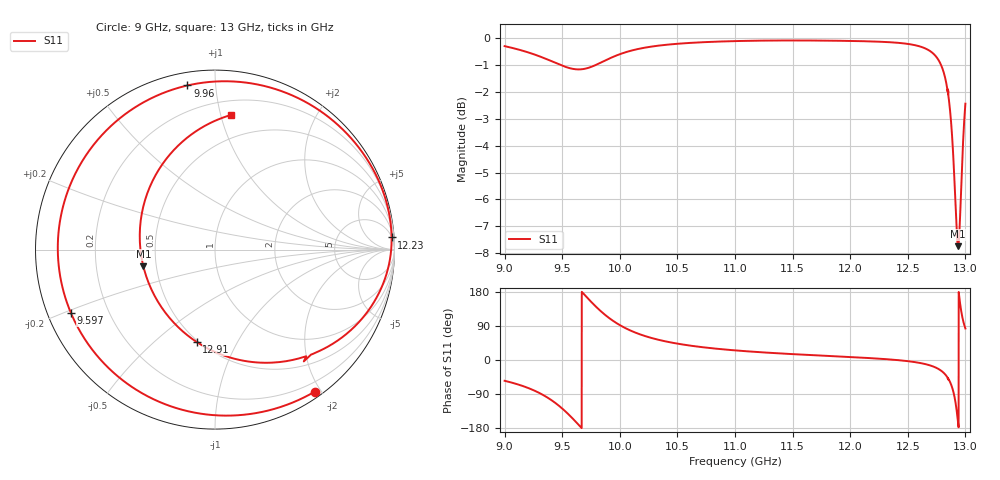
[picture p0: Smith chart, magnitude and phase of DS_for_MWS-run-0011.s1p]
! TOUCHSTONE file generated by CST DESIGN STUDIO
! Date and time: Tue Feb  4 15:45:07 2025
! Project name: C:\Work\MatlabApps\UnitCellOptimizationMatlab\CST\unitcell.cst
! Tree item: Tasks\Sweep1\SPara1\S-Parameters
! Header version: 2024
! Port assignment regex: !\s*Touchstone port\s*([0-9]+)\s*=\s*(CST MWS port|CST DES external port|CST DES block port)\s*(.+)\s* \(\"(.*)\"\)(\s*mode\s*([0-9]+))?.*
! Touchstone port assignment:
! Touchstone port 1 = CST DES external port 1 ("")
# GHz S MA R 50
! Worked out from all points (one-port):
!   4001 points, 9 GHz to 13 GHz, reference 50 ohm
!   lowest |S11| = -7.7 dB at 12.94 GHz (marker M1), VSWR 2.39, Z = 21.2 - j4.79 ohm
!   |S11| at or under -10 dB: nowhere
!   S11 on the Smith chart (normalised r, x): 9 GHz: 0.08, -1.92; 9.597 GHz: 0.07, -0.21; 9.96 GHz: 0.06, +0.84; 12.23 GHz: 6, +28; 12.91 GHz: 0.49, -0.70; 13 GHz: 0.31, +1.08
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9  0.9672 -54.9
9.169  0.9467 -69.8
9.321  0.9227 -90.1
9.417  0.9049 -108.2
9.5  0.8895 -128.0
9.597  0.8769 -156.3
9.669  0.8758 -179.8
9.741  0.8832 156.7
9.848  0.904 125.3
9.96  0.9272 99.6
10  0.9343 92.1
10.106  0.9496 76.0
10.219  0.961 63.2
10.5  0.9771 43.2
11  0.9884 25.4
11.5  0.9911 15.5
12  0.989 7.8
12.228  0.9862 3.9
12.5  0.9765 -3.1
12.689  0.9483 -13.8
12.79  0.8907 -28.4
12.853  0.7795 -49.8
12.885  0.6551 -72.5
12.908  0.5248 -101.2
12.937  0.4099 -166.7
12.954  0.4657 149.2
12.972  0.5871 115.3
13  0.7557 83.2
